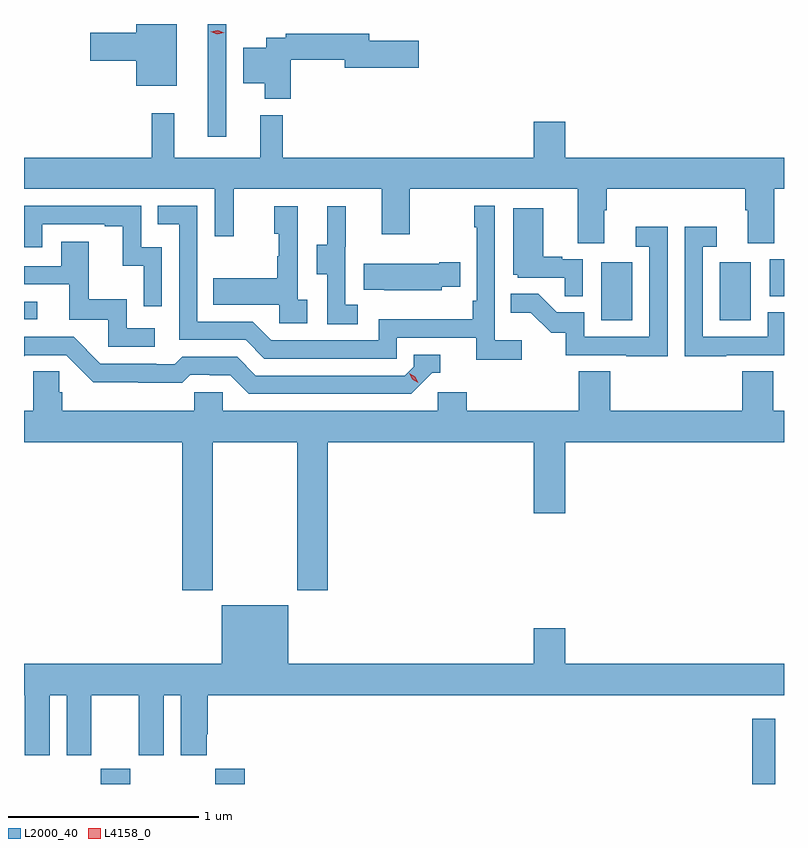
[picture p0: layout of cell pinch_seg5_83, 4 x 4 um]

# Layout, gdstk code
import gdstk
lib = gdstk.Library(unit=1e-6, precision=1e-09)
def R(c, l, rs):  # rectangles x0, y0, x1, y1
    for r in rs: c.add(gdstk.rectangle(r[:2], r[2:], *l))
def P(c, l, *ps):  # polygons
    for p in ps: c.add(gdstk.Polygon(p, *l))
L2000_40 = (2000, 40)
L4158_0 = (4158, 0)

pinch_seg5_83 = lib.new_cell('pinch_seg5_83')
R(pinch_seg5_83, L2000_40, [(1037.851,904.244,1038.006,904.324), (1038.455,904.244,1038.611,904.324), (1041.282,904.244,1041.403,904.588), (1040.486,906.684,1040.65,906.991), (1041.11,906.684,1041.274,906.991), (1037.448,906.69,1037.518,906.783), (1041.372,906.811,1041.448,907.005), (1038.416,907.65,1038.513,908.244)])
P(pinch_seg5_83, L2000_40, [(1038.253,908.244),(1038.038,908.244),(1038.038,908.198),(1037.796,908.198),(1037.796,908.051),(1038.038,908.051),(1038.038,907.919),(1038.253,907.919)],
  [(1038.851,908.056),(1039.136,908.056),(1039.136,908.014),(1039.525,908.014),(1039.525,908.156),(1039.264,908.156),(1039.264,908.192),(1038.826,908.192),(1038.826,908.172),(1038.722,908.172),(1038.722,908.119),(1038.602,908.119),(1038.602,907.931),(1038.716,907.931),(1038.716,907.85),(1038.851,907.85)],
  [(1040.503,907.264),(1040.516,907.264),(1040.516,907.376),(1041.245,907.376),(1041.245,907.264),(1041.257,907.264),(1041.257,907.09),(1041.397,907.09),(1041.397,907.376),(1041.448,907.376),(1041.448,907.54),(1040.296,907.54),(1040.296,907.729),(1040.132,907.729),(1040.132,907.54),(1038.809,907.54),(1038.809,907.765),(1038.692,907.765),(1038.692,907.54),(1038.239,907.54),(1038.239,907.774),(1038.121,907.774),(1038.121,907.54),(1037.448,907.54),(1037.448,907.376),(1038.453,907.376),(1038.453,907.128),(1038.551,907.128),(1038.551,907.376),(1039.331,907.376),(1039.331,907.137),(1039.478,907.137),(1039.478,907.376),(1040.363,907.376),(1040.363,907.09),(1040.503,907.09)],
  [(1040.068,906.58),(1039.926,906.58),(1039.926,907.288),(1039.818,907.288),(1039.818,907.175),(1039.83,907.175),(1039.83,906.787),(1039.81,906.787),(1039.81,906.691),(1039.314,906.691),(1039.314,906.579),(1038.75,906.579),(1038.651,906.678),(1038.36,906.678),(1038.36,907.287),(1038.151,907.287),(1038.151,907.191),(1038.264,907.191),(1038.264,906.582),(1038.614,906.582),(1038.713,906.483),(1039.41,906.483),(1039.41,906.594),(1039.829,906.594),(1039.829,906.478),(1040.068,906.478)],
  [(1038.174,907.068),(1038.066,907.068),(1038.066,907.287),(1037.448,907.287),(1037.448,907.068),(1037.544,907.068),(1037.544,907.191),(1037.873,907.191),(1037.873,907.179),(1037.969,907.179),(1037.969,906.971),(1038.078,906.971),(1038.078,906.759),(1038.174,906.759)],
  [(1039.204,906.767),(1039.14,906.767),(1039.14,907.071),(1039.142,907.071),(1039.142,907.285),(1039.043,907.285),(1039.043,907.083),(1038.989,907.083),(1038.989,906.928),(1039.044,906.928),(1039.044,906.664),(1039.204,906.664)],
  [(1038.94,906.794),(1038.888,906.794),(1038.888,907.285),(1038.764,907.285),(1038.764,907.14),(1038.79,907.14),(1038.79,907.022),(1038.78,907.022),(1038.78,906.907),(1038.445,906.907),(1038.445,906.767),(1038.792,906.767),(1038.792,906.669),(1038.94,906.669)],
  [(1040.388,907.005),(1040.282,907.005),(1040.282,907.018),(1040.182,907.018),(1040.182,907.273),(1040.024,907.273),(1040.024,906.924),(1040.046,906.924),(1040.046,906.909),(1040.293,906.909),(1040.293,906.811),(1040.388,906.811)],
  [(1040.835,907.177),(1040.667,907.177),(1040.667,907.071),(1040.739,907.071),(1040.739,906.597),(1040.397,906.597),(1040.397,906.726),(1040.253,906.726),(1040.155,906.824),(1040.011,906.824),(1040.011,906.725),(1040.115,906.725),(1040.222,906.618),(1040.299,906.618),(1040.299,906.501),(1040.617,906.501),(1040.617,906.496),(1040.835,906.496)],
  [(1041.143,906.501),(1041.448,906.501),(1041.448,906.726),(1041.363,906.726),(1041.363,906.597),(1041.021,906.597),(1041.021,907.071),(1041.094,907.071),(1041.094,907.177),(1040.925,907.177),(1040.925,906.496),(1041.143,906.496)],
  [(1038.136,906.642),(1037.988,906.642),(1037.988,906.796),(1037.789,906.796),(1037.789,907.099),(1037.645,907.099),(1037.645,906.969),(1037.448,906.969),(1037.448,906.873),(1037.687,906.873),(1037.687,906.687),(1037.892,906.687),(1037.892,906.546),(1038.136,906.546)],
  [(1039.647,906.86),(1039.745,906.86),(1039.745,906.99),(1039.634,906.99),(1039.634,906.982),(1039.237,906.982),(1039.237,906.845),(1039.345,906.845),(1039.345,906.842),(1039.647,906.842)],
  [(1039.596,906.408),(1039.639,906.408),(1039.639,906.504),(1039.5,906.504),(1039.5,906.441),(1039.452,906.393),(1038.669,906.393),(1038.57,906.492),(1038.281,906.492),(1038.242,906.453),(1038.143,906.453),(1038.143,906.456),(1037.85,906.456),(1037.709,906.597),(1037.448,906.597),(1037.448,906.495),(1037.454,906.501),(1037.67,906.501),(1037.812,906.359),(1038.048,906.359),(1038.048,906.357),(1038.281,906.357),(1038.323,906.399),(1038.426,906.399),(1038.426,906.396),(1038.533,906.396),(1038.632,906.297),(1039.485,906.297)],
  [(1040.132,905.67),(1040.296,905.67),(1040.296,906.044),(1041.448,906.044),(1041.448,906.208),(1041.392,906.208),(1041.392,906.416),(1041.227,906.416),(1041.227,906.208),(1040.534,906.208),(1040.534,906.416),(1040.369,906.416),(1040.369,906.208),(1039.778,906.208),(1039.778,906.306),(1039.626,906.306),(1039.626,906.208),(1038.495,906.208),(1038.495,906.306),(1038.345,906.306),(1038.345,906.208),(1037.648,906.208),(1037.648,906.306),(1037.633,906.306),(1037.633,906.416),(1037.496,906.416),(1037.496,906.208),(1037.448,906.208),(1037.448,906.044),(1038.281,906.044),(1038.281,905.265),(1038.441,905.265),(1038.441,906.044),(1038.886,906.044),(1038.886,905.265),(1039.046,905.265),(1039.046,906.044),(1040.132,906.044)],
  [(1037.448,904.712),(1037.453,904.712),(1037.453,904.395),(1037.584,904.395),(1037.584,904.712),(1037.672,904.712),(1037.672,904.395),(1037.803,904.395),(1037.803,904.712),(1038.053,904.712),(1038.053,904.395),(1038.184,904.395),(1038.184,904.712),(1038.272,904.712),(1038.272,904.395),(1038.409,904.395),(1038.409,904.507),(1038.416,904.507),(1038.416,904.712),(1041.448,904.712),(1041.448,904.876),(1040.296,904.876),(1040.296,905.065),(1040.132,905.065),(1040.132,904.876),(1038.838,904.876),(1038.838,905.185),(1038.488,905.185),(1038.488,904.876),(1037.448,904.876)])
P(pinch_seg5_83, L4158_0, [(1038.466,908.19),(1038.431,908.202),(1038.43,908.202),(1038.431,908.202),(1038.467,908.21),(1038.502,908.198),(1038.503,908.198),(1038.502,908.198)],
  [(1039.523,906.355),(1039.492,906.374),(1039.476,906.407),(1039.476,906.407),(1039.476,906.407),(1039.507,906.388),(1039.523,906.355),(1039.523,906.355)])

lib.write_gds('pinch_seg5_83.gds')
